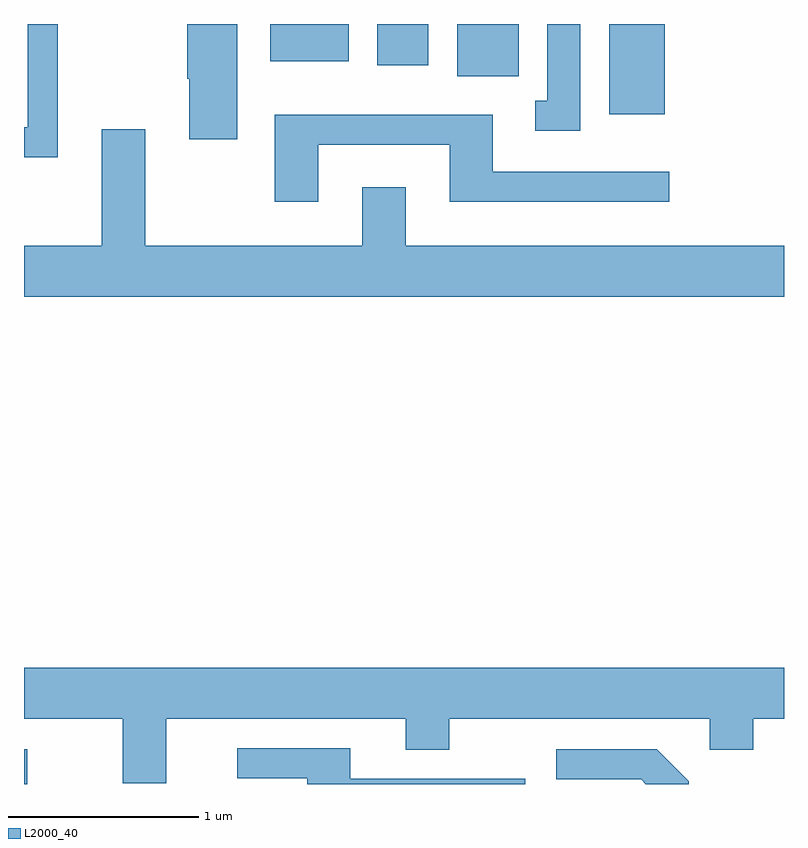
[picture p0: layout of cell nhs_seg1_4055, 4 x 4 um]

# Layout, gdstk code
import gdstk
lib = gdstk.Library(unit=1e-6, precision=1e-09)
def R(c, l, rs):  # rectangles x0, y0, x1, y1
    for r in rs: c.add(gdstk.rectangle(r[:2], r[2:], *l))
def P(c, l, *ps):  # polygons
    for p in ps: c.add(gdstk.Polygon(p, *l))
L2000_40 = (2000, 40)

nhs_seg1_4055 = lib.new_cell('nhs_seg1_4055')
R(nhs_seg1_4055, L2000_40, [(307.611,863.712,307.629,863.894), (310.691,867.236,310.984,867.712), (309.891,867.436,310.214,867.712), (309.471,867.496,309.739,867.712), (308.906,867.516,309.319,867.712)])
P(nhs_seg1_4055, L2000_40, [(307.789,867.712),(307.631,867.712),(307.631,867.169),(307.611,867.169),(307.611,867.011),(307.789,867.011)],
  [(310.539,867.712),(310.366,867.712),(310.366,867.309),(310.303,867.309),(310.303,867.151),(310.539,867.151)],
  [(308.734,867.712),(308.471,867.712),(308.471,867.425),(308.481,867.425),(308.481,867.106),(308.734,867.106)],
  [(309.159,867.076),(309.851,867.076),(309.851,866.776),(311.008,866.776),(311.008,866.934),(310.079,866.934),(310.079,867.234),(308.931,867.234),(308.931,866.776),(309.159,866.776)],
  [(311.611,866.544),(309.619,866.544),(309.619,866.854),(309.391,866.854),(309.391,866.544),(308.249,866.544),(308.249,867.159),(308.021,867.159),(308.021,866.544),(307.611,866.544),(307.611,866.276),(311.611,866.276)],
  [(307.611,864.056),(308.131,864.056),(308.131,863.716),(308.359,863.716),(308.359,864.056),(309.621,864.056),(309.621,863.891),(309.849,863.891),(309.849,864.056),(311.221,864.056),(311.221,863.891),(311.449,863.891),(311.449,864.056),(311.611,864.056),(311.611,864.324),(307.611,864.324)],
  [(310.249,863.739),(309.329,863.739),(309.329,863.899),(308.733,863.899),(308.733,863.741),(309.101,863.741),(309.101,863.712),(310.249,863.712)],
  [(311.109,863.727),(310.942,863.894),(310.413,863.894),(310.413,863.736),(310.859,863.736),(310.883,863.712),(311.109,863.712)])

lib.write_gds('nhs_seg1_4055.gds')
